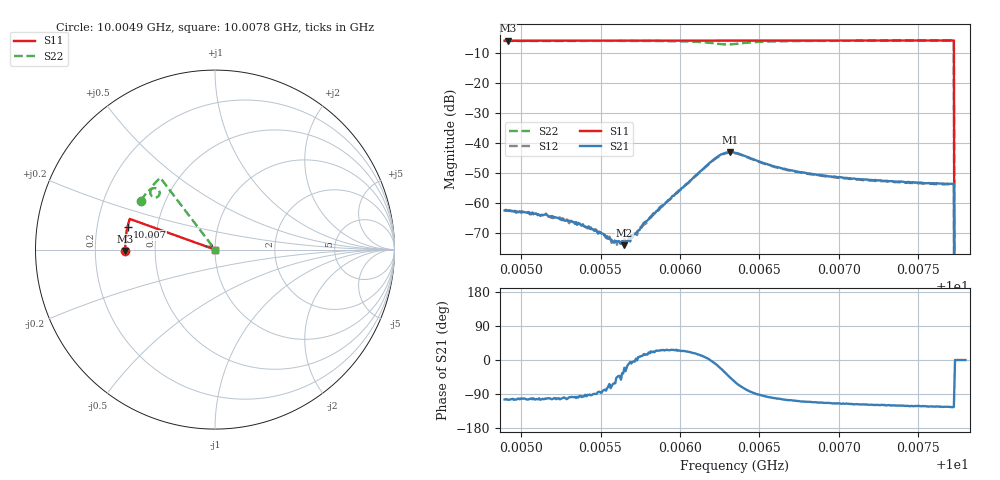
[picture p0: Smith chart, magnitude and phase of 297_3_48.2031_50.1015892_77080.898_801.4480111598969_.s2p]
#  HZ  S  RI  R  50.00
! Rohde & Schwarz Vector Network Analyzer
! Rohde-Schwarz,ZNB20-2Port,1311601062101988,3.16
! Created: UTC 3/20/2024, 11:49:20 AM
! freq[Hz]  re:S11  im:S11  re:S21  im:S21  re:S12  im:S12  re:S22  im:S22
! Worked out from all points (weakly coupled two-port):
!   401 points, 10.0049 GHz to 10.0078 GHz, reference 50 ohm
!   highest |S21| = -43.17 dB at 10.00632 GHz (marker M1); lowest = -74.2 dB at 10.00565 GHz (marker M2)
!   lowest |S11| = -6.0 dB at 10.00492 GHz (marker M3), VSWR 2.99, Z = 16.7 - j0.329 ohm
!   |S11| at or under -10 dB: 10.00773 GHz to end of sweep
!   |S22| runs from - to -6.0 dB; largest |S21 - S12| = 0.0004
!   S11 on the Smith chart (normalised r, x): 10.0049 GHz: 0.33, -0.01; 10.007 GHz: 0.33, +0.11; 10.0078 GHz: 1.00, +0.00
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1.0004896e10  -0.4993 -0.00885  -0.000179 -0.000712  -0.000138 -0.000722  -0.4128 0.2716
1.0004918e10  -0.4992 -0.00739  -0.000193 -0.000708  -0.00016 -0.000714  -0.4119 0.2731
1.0005157e10  -0.4998 0.00823  -0.000141 -0.000638  -8.54e-05 -0.000602  -0.4031 0.2872
1.000523e10  -0.4998 0.0129  -0.000108 -0.000542  -7e-05 -0.000558  -0.4002 0.2917
1.0005382e10  -0.4999 0.0228  -5.55e-05 -0.000409  -2.32e-05 -0.00041  -0.3939 0.3009
1.0005505e10  -0.4997 0.0308  1.39e-05 -0.000303  4.89e-05 -0.000316  -0.3882 0.3082
1.0005571e10  -0.4996 0.0351  8.64e-05 -0.000219  8.84e-05 -0.000193  -0.385 0.3121
1.00056e10  -0.4992 0.0369  0.000152 -0.000162  0.000138 -0.000166  -0.3835 0.3141
1.0005651e10  -0.4993 0.0402  0.000183 -6.79e-05  0.000226 -9.45e-05  -0.3809 0.3172
1.0005687e10  -0.4991 0.0426  0.000224 -2.03e-05  0.000234 -2.14e-05  -0.3788 0.3196
1.0005868e10  -0.4983 0.0542  0.000733 0.000339  0.00067 0.000337  -0.3664 0.3311
1.0006209e10  -0.4957 0.0762  0.00509 -0.000486  0.00501 -0.000248  -0.3127 0.3302
1.0006267e10  -0.4951 0.0796  0.0058 -0.00283  0.00581 -0.00255  -0.309 0.309
1.0006318e10  -0.4947 0.0828  0.00473 -0.00508  0.00486 -0.00474  -0.3222 0.2929
1.0006347e10  -0.4945 0.0845  0.00355 -0.00576  0.00377 -0.00548  -0.3334 0.2902
1.0006594e10  -0.4925 0.1003  -0.00074 -0.00393  -0.000539 -0.00392  -0.3597 0.329
1.0006833e10  -0.4898 0.1154  -0.00107 -0.0028  -0.000919 -0.0028  -0.3494 0.3518
1.0007e10  -0.4875 0.1261  -0.0011 -0.00241  -0.000974 -0.0024  -0.3414 0.3631
1.0007319e10  -0.4826 0.1461  -0.00111 -0.00199  -0.000981 -0.00197  -0.3252 0.3807
1.0007711e10  -0.4755 0.1703  -0.00117 -0.0017  -0.00101 -0.00171  -0.3054 0.3993
1.0007748e10  0 0  0 0  0 0  0 0
1.0007798e10  0 0  0 0  0 0  0 0
